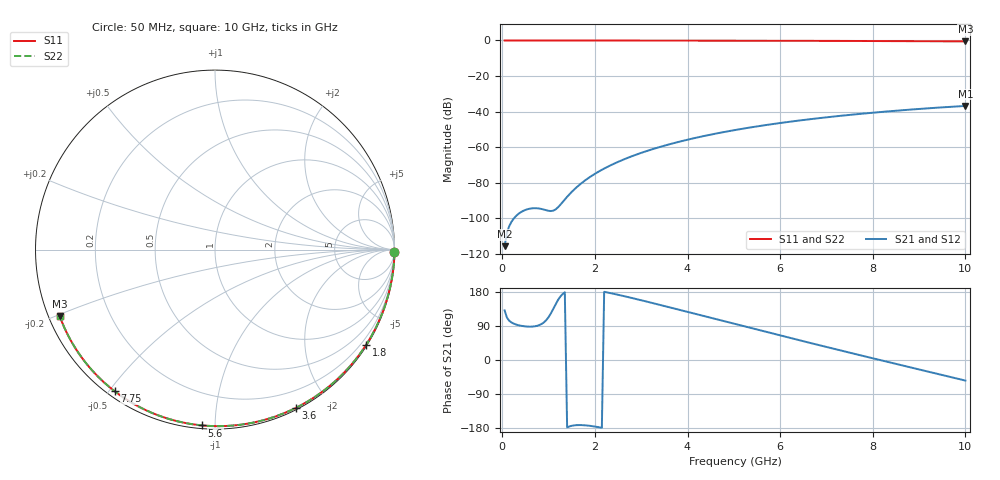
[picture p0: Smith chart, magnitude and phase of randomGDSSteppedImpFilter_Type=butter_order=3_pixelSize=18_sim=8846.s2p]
! freq	dB(S11)	phase(S11)	dB(S12)	phase(S12)
!  dB(S21)	phase(S21)	dB(S22)	phase(S22)
!S-par simulation data
#  GHz  S  DB  R 50
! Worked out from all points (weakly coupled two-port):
!   200 points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, 50 MHz to 10 GHz, reference 50 ohm
!   highest |S21| = -36.83 dB at 10 GHz (marker M1); lowest = -115.7 dB at 50 MHz (marker M2)
!   lowest |S11| = -0.5 dB at 10 GHz (marker M3), VSWR 32.98, Z = 1.58 - j10.2 ohm
!   |S11| at or under -10 dB: nowhere
!   |S22| runs from -0.5 to 0.0 dB; largest |S21 - S12| = 0
!   S11 on the Smith chart (normalised r, x): 50 MHz: open; 1.8 GHz: 0.03, -3.45; 3.6 GHz: 0.02, -1.64; 5.6 GHz: 0.02, -0.93; 7.75 GHz: 0.02, -0.52; 10 GHz: 0.03, -0.20
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0.05  -0.00 -0.9  -115.71 131.0  -115.71 131.0  -0.00 -0.9
0.45  -0.01 -8.2  -95.88 89.3  -95.88 89.3  -0.01 -8.2
0.9  -0.02 -16.3  -95.14 99.4  -95.14 99.4  -0.02 -16.3
1.7  -0.04 -30.5  -80.48 -171.7  -80.48 -171.7  -0.04 -30.6
1.75  -0.04 -31.4  -79.46 -172.0  -79.46 -172.0  -0.04 -31.4
1.8  -0.04 -32.3  -78.49 -172.5  -78.49 -172.5  -0.04 -32.3
1.95  -0.04 -34.9  -75.83 -174.7  -75.83 -174.7  -0.04 -34.9
2.1  -0.05 -37.5  -73.48 -177.7  -73.48 -177.7  -0.05 -37.5
2.3  -0.05 -41.0  -70.72 177.5  -70.72 177.5  -0.05 -41.0
2.5  -0.06 -44.4  -68.29 172.1  -68.29 172.1  -0.06 -44.4
2.9  -0.07 -51.2  -64.14 160.7  -64.14 160.7  -0.07 -51.2
3.4  -0.08 -59.6  -59.93 145.5  -59.93 145.5  -0.08 -59.6
3.6  -0.08 -62.9  -58.46 139.4  -58.46 139.4  -0.08 -62.9
4.3  -0.11 -74.1  -54.05 117.6  -54.05 117.6  -0.11 -74.2
5.05  -0.13 -85.8  -50.27 94.2  -50.27 94.2  -0.13 -85.8
5.6  -0.16 -94.2  -47.94 77.1  -47.94 77.1  -0.16 -94.2
6.15  -0.18 -102.3  -45.91 60.2  -45.91 60.2  -0.18 -102.3
6.7  -0.22 -110.3  -44.12 43.4  -44.12 43.4  -0.22 -110.3
7.75  -0.29 -125.2  -41.24 11.9  -41.24 11.9  -0.29 -125.3
8.35  -0.34 -133.7  -39.85 -5.8  -39.85 -5.8  -0.34 -133.7
9.2  -0.43 -145.5  -38.15 -30.8  -38.15 -30.8  -0.43 -145.6
10  -0.53 -156.8  -36.83 -54.3  -36.83 -54.3  -0.53 -156.9
